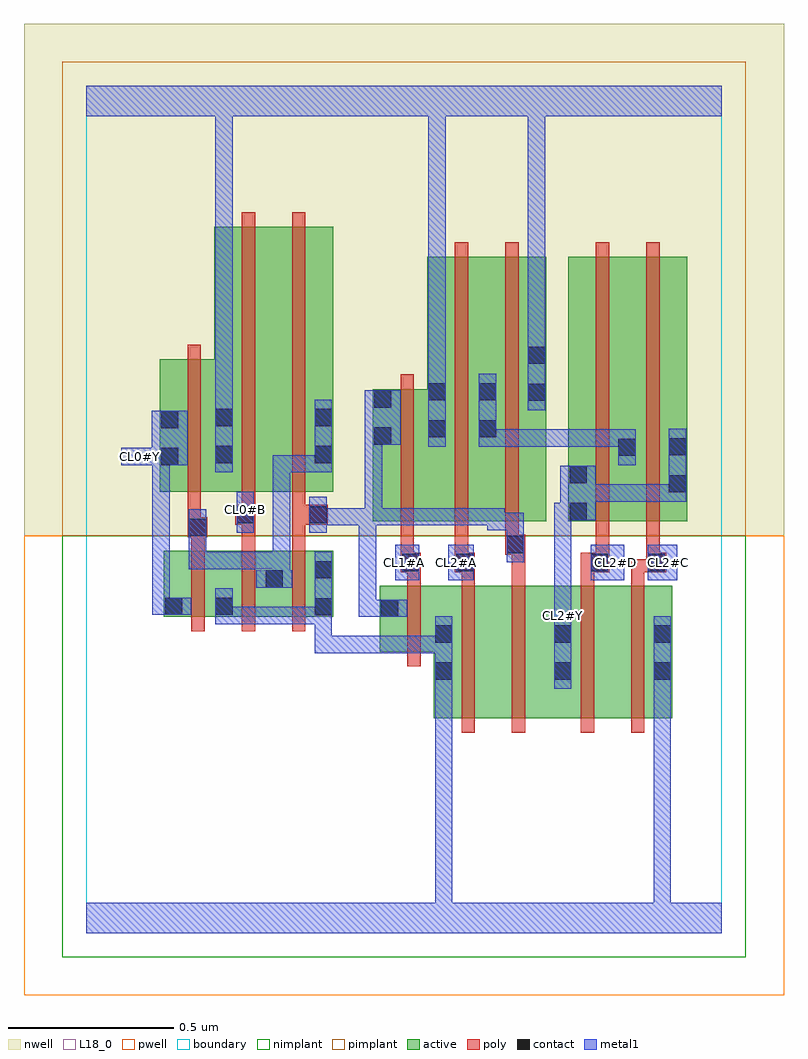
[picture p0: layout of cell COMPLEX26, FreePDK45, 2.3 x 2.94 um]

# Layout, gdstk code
import gdstk
lib = gdstk.Library(unit=1e-6, precision=1e-09)
def R(c, l, rs):  # rectangles x0, y0, x1, y1
    for r in rs: c.add(gdstk.rectangle(r[:2], r[2:], *l))
def A(c, l, x, y, w, h, nx, ny, dx, dy):  # array of equal rectangles
    R(c, l, [(x+i*dx, y+j*dy, x+i*dx+w, y+j*dy+h) for i in range(nx) for j in range(ny)])
active = (1, 0)
pwell = (2, 0)
nwell = (3, 0)
nimplant = (4, 0)
pimplant = (5, 0)
poly = (9, 0)
contact = (10, 0)
metal1 = (11, 0)
L18_0 = (18, 0)
boundary = (235, 0)

complex26 = lib.new_cell('COMPLEX26')
R(complex26, active, [(1.05,0.65,1.23,1.05), (1.05,0.65,1.11,1.05), (1.23,0.65,1.47,1.05), (1.41,0.65,1.59,1.05), (1.41,0.65,1.47,1.05), (1.59,0.65,1.77,1.05), (1.71,0.756,1.77,1.05), (0.886,0.85,1.11,1.05), (0.886,0.85,0.946,1.05), (0.234,0.956,0.294,1.156), (0.234,0.956,0.446,1.156), (0.386,0.956,0.598,1.156), (0.386,0.956,0.446,1.018), (0.538,0.956,0.746,1.156), (0.538,0.956,0.598,1.1), (0.686,0.956,0.746,1.156), (0.866,1.244,0.926,1.644), (0.866,1.244,1.09,1.644), (1.03,1.244,1.242,2.044), (1.182,1.244,1.39,2.044), (1.456,1.244,1.516,2.044), (1.456,1.244,1.664,2.044), (1.604,1.244,1.664,2.044), (1.604,1.244,1.816,2.044), (1.756,1.244,1.816,2.044), (0.222,1.334,0.446,1.734), (0.222,1.334,0.282,1.644), (0.386,1.334,0.566,2.134), (0.566,1.334,0.746,2.134), (0.686,1.334,0.746,2.134), (0.386,1.41,0.446,1.946), (1.03,1.488,1.09,2.044), (1.182,1.494,1.242,2.044), (1.33,1.584,1.39,2.044)])
R(complex26, pwell, [(-0.188,-0.188,2.108,1.2)])
R(complex26, nwell, [(-0.188,1.2,2.108,2.748)])
R(complex26, nimplant, [(-0.072,-0.072,1.992,1.2)])
R(complex26, pimplant, [(-0.072,1.2,1.992,2.632)])
A(complex26, poly, 0.318, 0.912, 0.04, 0.288, 3, 1, 0.152, 0)
R(complex26, poly, [(1.134,0.606,1.174,1.094), (1.286,0.606,1.326,1.094), (1.494,0.606,1.534,1.094), (1.646,0.606,1.686,1.094), (0.97,0.806,1.01,1.094), (0.97,1.054,1.01,1.13), (1.134,1.054,1.174,1.13), (1.286,1.054,1.326,1.184), (1.494,1.054,1.534,1.13), (1.646,1.054,1.686,1.13), (0.95,1.09,1.01,1.15), (1.114,1.09,1.174,1.15), (1.494,1.09,1.58,1.15), (1.646,1.09,1.732,1.13), (1.692,1.09,1.732,1.13), (1.692,1.09,1.752,1.15), (0.95,1.11,0.99,1.24), (0.95,1.11,0.99,1.15), (0.95,1.11,0.99,1.15), (1.114,1.11,1.154,1.24), (1.114,1.11,1.154,1.15), (1.114,1.11,1.154,1.15), (1.54,1.11,1.58,1.24), (1.54,1.11,1.58,1.15), (1.54,1.11,1.58,1.15), (1.692,1.11,1.732,1.24), (1.266,1.144,1.326,1.204), (1.286,1.144,1.326,1.184), (1.286,1.144,1.326,1.184), (0.318,1.16,0.358,1.236), (0.47,1.16,0.51,1.274), (0.622,1.16,0.662,1.274), (1.266,1.164,1.306,1.24), (0.306,1.196,0.366,1.256), (0.95,1.2,0.99,1.688), (1.114,1.2,1.154,2.088), (1.266,1.2,1.306,2.088), (1.54,1.2,1.58,2.088), (1.692,1.2,1.732,2.088), (0.306,1.216,0.346,1.256), (0.306,1.216,0.346,1.256), (0.306,1.216,0.346,1.33), (0.45,1.234,0.51,1.294), (0.47,1.234,0.51,1.274), (0.47,1.234,0.51,1.274), (0.622,1.234,0.73,1.294), (0.47,1.254,0.51,1.33), (0.622,1.254,0.662,1.294), (0.622,1.254,0.662,1.294), (0.622,1.254,0.662,1.33), (0.306,1.29,0.346,1.778), (0.47,1.29,0.51,2.178), (0.622,1.29,0.662,2.178)])
R(complex26, contact, [(1.054,0.766,1.106,0.818), (1.414,0.766,1.466,0.818), (1.714,0.766,1.766,0.818), (1.054,0.878,1.106,0.93), (1.414,0.878,1.466,0.93), (1.714,0.878,1.766,0.93), (0.89,0.956,0.942,1.008), (0.69,0.96,0.742,1.012), (0.238,0.962,0.29,1.014), (0.39,0.962,0.442,1.014), (0.542,1.044,0.594,1.096), (0.69,1.072,0.742,1.124), (0.954,1.094,1.006,1.146), (1.118,1.094,1.17,1.146), (1.524,1.094,1.576,1.146), (1.696,1.094,1.748,1.146), (1.27,1.148,1.322,1.2), (0.31,1.2,0.362,1.252), (0.454,1.238,0.506,1.29), (0.674,1.238,0.726,1.29), (1.46,1.248,1.512,1.3), (1.76,1.332,1.812,1.384), (1.46,1.36,1.512,1.412), (0.226,1.414,0.278,1.466), (0.39,1.42,0.442,1.472), (0.69,1.42,0.742,1.472), (1.608,1.442,1.66,1.494), (1.76,1.444,1.812,1.496), (0.87,1.476,0.922,1.528), (1.034,1.498,1.086,1.55), (1.186,1.498,1.238,1.55), (0.226,1.526,0.278,1.578), (0.39,1.532,0.442,1.584), (0.69,1.532,0.742,1.584), (0.87,1.588,0.922,1.64), (1.334,1.608,1.386,1.66), (1.034,1.61,1.086,1.662), (1.186,1.61,1.238,1.662), (1.334,1.72,1.386,1.772)])
R(complex26, metal1, [(0,0,1.92,0.092), (1.054,0.04,1.106,0.092), (1.054,0.04,1.106,0.092), (1.054,0.04,1.106,0.092), (1.054,0.04,1.106,0.092), (1.054,0.04,1.106,0.092), (1.054,0.04,1.106,0.092), (1.054,0.04,1.106,0.092), (1.054,0.04,1.106,0.092), (1.054,0.04,1.106,0.092), (1.054,0.04,1.106,0.092), (1.054,0.04,1.106,0.79), (1.714,0.04,1.766,0.092), (1.714,0.04,1.766,0.092), (1.714,0.04,1.766,0.092), (1.714,0.04,1.766,0.092), (1.714,0.04,1.766,0.092), (1.714,0.04,1.766,0.092), (1.714,0.04,1.766,0.092), (1.714,0.04,1.766,0.092), (1.714,0.04,1.766,0.092), (1.714,0.04,1.766,0.092), (1.714,0.04,1.766,0.79), (1.054,0.738,1.106,0.79), (1.054,0.738,1.106,0.79), (1.054,0.738,1.106,0.958), (1.414,0.738,1.466,0.958), (1.714,0.738,1.766,0.79), (1.714,0.738,1.766,0.79), (1.714,0.738,1.766,0.958), (0.69,0.846,0.742,0.898), (0.69,0.846,0.876,0.898), (0.69,0.846,0.742,0.984), (0.824,0.846,0.876,0.898), (0.824,0.846,0.876,0.898), (0.824,0.846,0.876,0.898), (0.824,0.846,0.876,0.898), (0.824,0.846,0.876,0.898), (0.824,0.846,1.106,0.898), (1.414,0.906,1.466,0.958), (1.414,0.906,1.466,1.014), (0.69,0.932,0.742,1.152), (0.39,0.934,0.442,1.042), (0.39,0.934,0.616,0.986), (0.564,0.934,0.616,0.986), (0.564,0.934,0.616,0.986), (0.564,0.934,0.616,0.986), (0.564,0.934,0.742,0.986), (0.69,0.934,0.742,0.986), (0.69,0.934,0.742,0.986), (0.824,0.956,0.876,1.284), (0.824,0.956,0.97,1.008), (0.2,0.962,0.252,1.466), (0.2,0.962,0.318,1.014), (1.414,0.962,1.466,1.3), (0.514,1.044,0.622,1.096), (0.564,1.044,0.616,1.152), (0.934,1.066,1.006,1.174), (1.094,1.066,1.17,1.174), (1.524,1.066,1.626,1.174), (1.696,1.066,1.786,1.174), (0.31,1.1,0.362,1.224), (0.31,1.1,0.616,1.152), (0.564,1.1,0.616,1.152), (0.564,1.1,0.616,1.152), (0.564,1.1,0.616,1.152), (0.564,1.1,0.616,1.444), (1.27,1.12,1.322,1.27), (0.31,1.172,0.362,1.224), (0.31,1.172,0.362,1.28), (0.454,1.21,0.506,1.334), (0.674,1.21,0.726,1.318), (1.212,1.218,1.322,1.27), (1.212,1.218,1.264,1.284), (0.674,1.232,0.726,1.284), (0.674,1.232,0.726,1.284), (0.674,1.232,0.876,1.284), (0.824,1.232,0.876,1.284), (0.824,1.232,0.876,1.284), (0.824,1.232,0.894,1.284), (0.842,1.232,0.894,1.284), (0.842,1.232,0.894,1.284), (0.842,1.232,1.004,1.284), (0.842,1.232,0.894,1.528), (0.952,1.232,1.004,1.284), (0.952,1.232,1.004,1.284), (0.952,1.232,1.004,1.284), (0.952,1.232,1.264,1.284), (1.414,1.248,1.484,1.3), (1.432,1.248,1.484,1.3), (1.432,1.248,1.54,1.412), (1.488,1.304,1.54,1.356), (1.488,1.304,1.54,1.356), (1.488,1.304,1.656,1.356), (1.604,1.304,1.656,1.356), (1.604,1.304,1.812,1.356), (1.76,1.304,1.812,1.356), (1.76,1.304,1.812,1.356), (1.76,1.304,1.812,1.524), (0.39,1.392,0.442,1.612), (0.564,1.392,0.616,1.444), (0.564,1.392,0.616,1.444), (0.564,1.392,0.616,1.444), (0.564,1.392,0.742,1.444), (0.69,1.392,0.742,1.444), (0.69,1.392,0.742,1.444), (0.69,1.392,0.742,1.612), (0.106,1.414,0.252,1.466), (0.198,1.414,0.25,1.466), (0.198,1.414,0.25,1.466), (0.198,1.414,0.25,1.466), (0.198,1.414,0.306,1.578), (1.608,1.414,1.66,1.522), (1.034,1.47,1.086,1.69), (1.186,1.47,1.238,1.522), (1.186,1.47,1.238,1.522), (1.186,1.47,1.238,1.69), (1.186,1.47,1.374,1.522), (1.322,1.47,1.374,1.522), (1.322,1.47,1.374,1.522), (1.322,1.47,1.374,1.522), (1.322,1.47,1.546,1.522), (1.494,1.47,1.546,1.522), (1.494,1.47,1.546,1.522), (1.494,1.47,1.546,1.522), (1.494,1.47,1.66,1.522), (0.842,1.476,0.95,1.64), (0.39,1.56,0.442,1.612), (0.39,1.56,0.442,1.612), (0.39,1.56,0.442,1.612), (0.39,1.56,0.442,1.612), (0.39,1.56,0.442,2.52), (1.334,1.58,1.386,1.8), (1.034,1.638,1.086,1.69), (1.034,1.638,1.086,1.69), (1.034,1.638,1.086,1.69), (1.034,1.638,1.086,1.69), (1.034,1.638,1.086,2.52), (1.334,1.748,1.386,1.8), (1.334,1.748,1.386,1.8), (1.334,1.748,1.386,1.8), (1.334,1.748,1.386,1.8), (1.334,1.748,1.386,1.8), (1.334,1.748,1.386,1.8), (1.334,1.748,1.386,1.8), (1.334,1.748,1.386,1.8), (1.334,1.748,1.386,2.52), (0,2.468,1.92,2.56), (0.39,2.468,0.442,2.52), (0.39,2.468,0.442,2.52), (0.39,2.468,0.442,2.52), (0.39,2.468,0.442,2.52), (1.034,2.468,1.086,2.52), (1.034,2.468,1.086,2.52), (1.034,2.468,1.086,2.52), (1.034,2.468,1.086,2.52)])
R(complex26, L18_0, [(0,0,1.92,0.092), (1.054,0.04,1.106,0.092), (1.054,0.04,1.106,0.092), (1.054,0.04,1.106,0.092), (1.054,0.04,1.106,0.092), (1.054,0.04,1.106,0.092), (1.054,0.04,1.106,0.092), (1.054,0.04,1.106,0.092), (1.054,0.04,1.106,0.092), (1.054,0.04,1.106,0.092), (1.054,0.04,1.106,0.092), (1.054,0.04,1.106,0.79), (1.714,0.04,1.766,0.092), (1.714,0.04,1.766,0.092), (1.714,0.04,1.766,0.092), (1.714,0.04,1.766,0.092), (1.714,0.04,1.766,0.092), (1.714,0.04,1.766,0.092), (1.714,0.04,1.766,0.092), (1.714,0.04,1.766,0.092), (1.714,0.04,1.766,0.092), (1.714,0.04,1.766,0.092), (1.714,0.04,1.766,0.79), (1.054,0.738,1.106,0.79), (1.054,0.738,1.106,0.79), (1.054,0.738,1.106,0.958), (1.414,0.738,1.466,0.958), (1.714,0.738,1.766,0.79), (1.714,0.738,1.766,0.79), (1.714,0.738,1.766,0.958), (0.69,0.846,0.742,0.898), (0.69,0.846,0.742,0.984), (0.69,0.846,0.876,0.898), (0.824,0.846,0.876,0.898), (0.824,0.846,0.876,0.898), (0.824,0.846,0.876,0.898), (0.824,0.846,0.876,0.898), (0.824,0.846,0.876,0.898), (0.824,0.846,1.106,0.898), (1.414,0.906,1.466,0.958), (1.414,0.906,1.466,1.014), (0.69,0.932,0.742,1.152), (0.39,0.934,0.442,1.042), (0.39,0.934,0.616,0.986), (0.564,0.934,0.616,0.986), (0.564,0.934,0.616,0.986), (0.564,0.934,0.616,0.986), (0.564,0.934,0.742,0.986), (0.69,0.934,0.742,0.986), (0.69,0.934,0.742,0.986), (1.414,0.934,1.466,0.986), (0.2,0.962,0.318,1.014), (0.2,0.962,0.252,1.466), (1.414,0.962,1.466,1.3), (0.934,1.066,1.006,1.174), (1.094,1.066,1.17,1.174), (1.524,1.066,1.626,1.174), (1.696,1.066,1.786,1.174), (0.934,1.094,0.986,1.146), (1.094,1.094,1.146,1.146), (1.574,1.094,1.626,1.146), (1.734,1.094,1.786,1.146), (0.454,1.21,0.506,1.334), (1.414,1.248,1.484,1.3), (1.432,1.248,1.484,1.3), (1.432,1.248,1.54,1.412), (0.454,1.254,0.506,1.306), (1.488,1.304,1.54,1.356), (1.488,1.304,1.54,1.356), (1.488,1.304,1.656,1.356), (1.604,1.304,1.656,1.356), (1.604,1.304,1.812,1.356), (1.76,1.304,1.812,1.356), (1.76,1.304,1.812,1.356), (1.76,1.304,1.812,1.524), (0.39,1.392,0.442,1.612), (0.106,1.414,0.252,1.466), (0.134,1.414,0.186,1.466), (0.198,1.414,0.25,1.466), (0.198,1.414,0.25,1.466), (0.198,1.414,0.25,1.466), (0.198,1.414,0.306,1.578), (1.034,1.47,1.086,1.69), (0.39,1.56,0.442,1.612), (0.39,1.56,0.442,1.612), (0.39,1.56,0.442,1.612), (0.39,1.56,0.442,1.612), (0.39,1.56,0.442,2.52), (1.334,1.58,1.386,1.8), (1.034,1.638,1.086,1.69), (1.034,1.638,1.086,1.69), (1.034,1.638,1.086,1.69), (1.034,1.638,1.086,1.69), (1.034,1.638,1.086,2.52), (1.334,1.748,1.386,1.8), (1.334,1.748,1.386,1.8), (1.334,1.748,1.386,1.8), (1.334,1.748,1.386,1.8), (1.334,1.748,1.386,1.8), (1.334,1.748,1.386,1.8), (1.334,1.748,1.386,1.8), (1.334,1.748,1.386,1.8), (1.334,1.748,1.386,2.52), (0,2.468,1.92,2.56), (0.39,2.468,0.442,2.52), (0.39,2.468,0.442,2.52), (0.39,2.468,0.442,2.52), (0.39,2.468,0.442,2.52), (1.034,2.468,1.086,2.52), (1.034,2.468,1.086,2.52), (1.034,2.468,1.086,2.52), (1.034,2.468,1.086,2.52)])
R(complex26, boundary, [(0,0,1.92,2.56)])
complex26.add(gdstk.Label('CL0#B', (0.48,1.28), layer=11, texttype=0))
complex26.add(gdstk.Label('CL0#Y', (0.16,1.44), layer=11, texttype=0))
complex26.add(gdstk.Label('CL1#A', (0.96,1.12), layer=11, texttype=0))
complex26.add(gdstk.Label('CL2#A', (1.12,1.12), layer=11, texttype=0))
complex26.add(gdstk.Label('CL2#C', (1.76,1.12), layer=11, texttype=0))
complex26.add(gdstk.Label('CL2#D', (1.6,1.12), layer=11, texttype=0))
complex26.add(gdstk.Label('CL2#Y', (1.44,0.96), layer=11, texttype=0))

lib.write_gds('COMPLEX26.gds')
